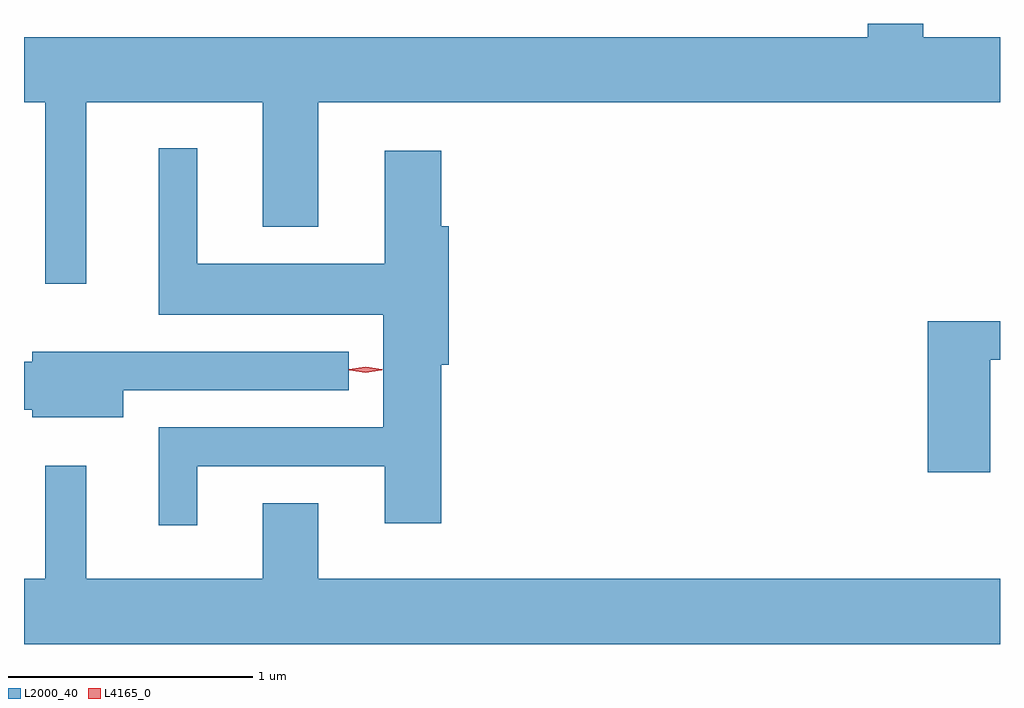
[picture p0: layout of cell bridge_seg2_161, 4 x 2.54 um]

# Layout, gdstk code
import gdstk
lib = gdstk.Library(unit=1e-6, precision=1e-09)
def P(c, l, *ps):  # polygons
    for p in ps: c.add(gdstk.Polygon(p, *l))
L2000_40 = (2000, 40)
L4165_0 = (4165, 0)

bridge_seg2_161 = lib.new_cell('bridge_seg2_161')
P(bridge_seg2_161, L2000_40, [(784.209,1079.396),(784.931,1079.396),(784.931,1078.886),(785.159,1078.886),(785.159,1079.396),(787.953,1079.396),(787.953,1079.664),(787.639,1079.664),(787.639,1079.718),(787.411,1079.718),(787.411,1079.664),(783.953,1079.664),(783.953,1079.396),(784.041,1079.396),(784.041,1078.653),(784.209,1078.653)],
  [(784.664,1077.906),(785.431,1077.906),(785.431,1077.671),(785.664,1077.671),(785.664,1078.321),(785.694,1078.321),(785.694,1078.889),(785.664,1078.889),(785.664,1079.199),(785.431,1079.199),(785.431,1078.734),(784.664,1078.734),(784.664,1079.208),(784.506,1079.208),(784.506,1078.526),(785.426,1078.526),(785.426,1078.064),(784.506,1078.064),(784.506,1077.663),(784.664,1077.663)],
  [(787.914,1078.341),(787.953,1078.341),(787.953,1078.499),(787.656,1078.499),(787.656,1077.881),(787.914,1077.881)],
  [(784.359,1078.216),(785.283,1078.216),(785.283,1078.374),(783.986,1078.374),(783.986,1078.334),(783.953,1078.334),(783.953,1078.136),(783.986,1078.136),(783.986,1078.106),(784.359,1078.106)],
  [(784.041,1077.908),(784.041,1077.444),(783.953,1077.444),(783.953,1077.176),(787.953,1077.176),(787.953,1077.444),(785.159,1077.444),(785.159,1077.754),(784.931,1077.754),(784.931,1077.444),(784.209,1077.444),(784.209,1077.908)])
P(bridge_seg2_161, L4165_0, [(785.353,1078.289),(785.287,1078.298),(785.287,1078.298),(785.287,1078.299),(785.353,1078.308),(785.418,1078.299),(785.419,1078.299),(785.418,1078.298)],
  [(785.353,1078.292),(785.284,1078.301),(785.283,1078.301),(785.284,1078.302),(785.353,1078.312),(785.422,1078.302),(785.422,1078.302),(785.422,1078.301)])

lib.write_gds('bridge_seg2_161.gds')
